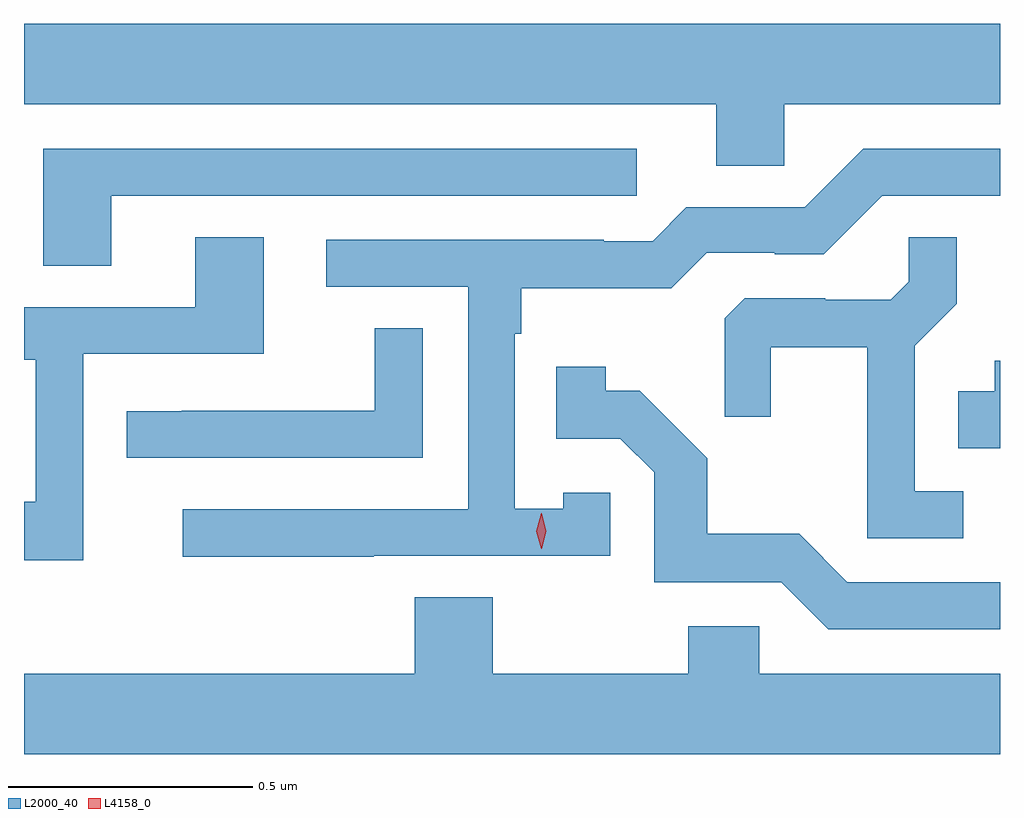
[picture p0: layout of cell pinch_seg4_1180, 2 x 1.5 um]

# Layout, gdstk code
import gdstk
lib = gdstk.Library(unit=1e-6, precision=1e-09)
def P(c, l, *ps):  # polygons
    for p in ps: c.add(gdstk.Polygon(p, *l))
L2000_40 = (2000, 40)
L4158_0 = (4158, 0)

pinch_seg4_1180 = lib.new_cell('pinch_seg4_1180')
P(pinch_seg4_1180, L2000_40, [(460.152,751.532),(460.594,751.532),(460.594,751.696),(458.594,751.696),(458.594,751.532),(460.013,751.532),(460.013,751.405),(460.152,751.405)],
  [(459.311,750.606),(459.795,750.606),(459.795,750.735),(459.699,750.735),(459.699,750.703),(459.6,750.703),(459.6,751.061),(459.613,751.061),(459.613,751.154),(459.92,751.154),(459.993,751.227),(460.132,751.227),(460.132,751.224),(460.233,751.224),(460.353,751.344),(460.594,751.344),(460.594,751.44),(460.314,751.44),(460.194,751.32),(459.951,751.32),(459.882,751.251),(459.782,751.251),(459.782,751.254),(459.213,751.254),(459.213,751.158),(459.504,751.158),(459.504,750.702),(458.919,750.702),(458.919,750.604),(459.311,750.604)],
  [(458.773,751.344),(459.85,751.344),(459.85,751.44),(458.633,751.44),(458.633,751.201),(458.773,751.201)],
  [(458.715,751.02),(459.085,751.02),(459.085,751.259),(458.945,751.259),(458.945,751.116),(458.594,751.116),(458.594,751.008),(458.618,751.008),(458.618,750.717),(458.594,750.717),(458.594,750.597),(458.715,750.597)],
  [(460.519,750.738),(460.419,750.738),(460.419,751.037),(460.505,751.123),(460.505,751.259),(460.407,751.259),(460.407,751.168),(460.37,751.131),(460.236,751.131),(460.236,751.134),(460.071,751.134),(460.03,751.093),(460.03,750.891),(460.124,750.891),(460.124,751.034),(460.322,751.034),(460.322,750.642),(460.519,750.642)],
  [(459.411,751.073),(459.313,751.073),(459.313,750.903),(458.917,750.903),(458.917,750.902),(458.805,750.902),(458.805,750.807),(459.411,750.807)],
  [(460.594,751.006),(460.583,751.006),(460.583,750.943),(460.508,750.943),(460.508,750.827),(460.594,750.827)],
  [(460.594,750.552),(460.281,750.552),(460.183,750.651),(459.994,750.651),(459.994,750.806),(459.856,750.944),(459.786,750.944),(459.786,750.994),(459.685,750.994),(459.685,750.846),(459.816,750.846),(459.885,750.777),(459.885,750.552),(460.146,750.552),(460.242,750.456),(460.594,750.456)],
  [(460.594,750.364),(460.101,750.364),(460.101,750.462),(459.955,750.462),(459.955,750.364),(459.555,750.364),(459.555,750.521),(459.395,750.521),(459.395,750.364),(458.594,750.364),(458.594,750.2),(460.594,750.2)])
P(pinch_seg4_1180, L4158_0, [(459.654,750.621),(459.654,750.621),(459.644,750.657),(459.654,750.693),(459.654,750.693),(459.655,750.693),(459.664,750.657),(459.655,750.621)])

lib.write_gds('pinch_seg4_1180.gds')
